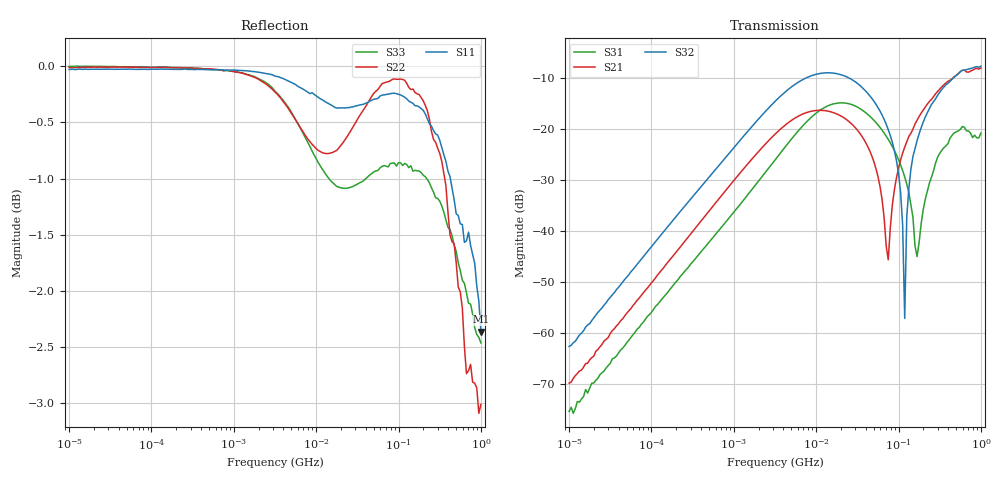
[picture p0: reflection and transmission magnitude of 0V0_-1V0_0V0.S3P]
!Keysight Technologies,E5080A,MY55100144,A.11.70.03
!Date: Monday, November 13, 2017 17:23:03
!Correction: S11(Full 3 Port(1,2,3))
!S12(Full 3 Port(1,2,3))
!S13(Full 3 Port(1,2,3))
!S21(Full 3 Port(1,2,3))
!S22(Full 3 Port(1,2,3))
!S23(Full 3 Port(1,2,3))
!S31(Full 3 Port(1,2,3))
!S32(Full 3 Port(1,2,3))
!S33(Full 3 Port(1,2,3))
!S3P File: Measurements: <S11,S12,S13>,
!<S21,S22,S23>,
!<S31,S32,S33>:Log Frequency Sweep
# Hz S  RI  R 50
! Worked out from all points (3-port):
!   201 points, 10 kHz to 1 GHz, reference 50 ohm
!   strongest paths, dB at 10 kHz, 177.8 kHz, 3.162 MHz, 56.23 MHz, 1 GHz:
!     S32: -62.6, -38.1, -14.6, -15.8, -7.7
!     S21: -69.8, -45.1, -21.0, -29.3, -8.0
!     S31: -75.3, -50.9, -26.1, -19.2, -20.8
!   lowest |S11| = -2.4 dB at 1 GHz (marker M1), VSWR 7.39, Z = 369 + j11.4 ohm
!   |S11| at or under -10 dB: nowhere
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10000  0.9968 -0.00146  -1.77e-06 0.000294  4.7e-07 0.000161
       2.63e-06 0.000324  0.999 -0.00355  -1.37e-05 0.000722
       1.5e-05 0.00017  1.51e-05 0.000743  0.9999 -0.00237
3162278  0.8786 -0.4563  0.0506 0.0735  0.0114 0.0486
         0.0506 0.0735  0.6528 -0.7228  0.1002 0.1575
         0.0113 0.0484  0.1004 0.1577  0.9348 -0.2761
5.623413e7  -0.9227 -0.2911  0.0155 -0.0306  0.057 -0.094
            0.0155 -0.0306  -0.9753 -0.0499  0.0634 -0.1501
            0.0569 -0.0941  0.0633 -0.1501  -0.6571 -0.613
7.498942e7  -0.9639 -0.1244  0.00455 0.00268  0.0243 -0.0755
            0.00453 0.00265  -0.9782 0.1105  0.0186 -0.0974
            0.0243 -0.0756  0.0186 -0.0973  -0.7953 -0.4254
1e8  -0.971 0.0371  0.00791 0.0409  0.00539 -0.05
     0.00793 0.0409  -0.9464 0.2795  -0.0003 -0.0368
     0.00531 -0.05  -0.000265 -0.0368  -0.8775 -0.2247
1.188502e8  -0.959 0.1373  0.0186 0.0639  0.00074 -0.0341
            0.0186 0.0639  -0.906 0.3885  0.000709 0.00119
            0.000741 -0.034  0.000711 0.0012  -0.8995 -0.1016
1.258925e8  -0.9518 0.1718  0.0236 0.0716  -0.000102 -0.0289
            0.0237 0.0715  -0.8858 0.4254  0.00355 0.0134
            -3.27e-05 -0.0289  0.00355 0.0134  -0.9022 -0.0591
1.678804e8  -0.8961 0.345  0.0599 0.1064  0.00486 -0.00295
            0.0599 0.1065  -0.7615 0.6046  0.0345 0.0692
            0.00484 -0.0029  0.0345 0.0691  -0.8865 0.1453
5.308844e8  0.00756 0.858  0.3254 -0.1277  0.0707 -0.065
            0.3253 -0.1279  0.5023 0.6193  0.3341 -0.1005
            0.0708 -0.065  0.3338 -0.1004  -0.1356 0.8063
1e9  0.7617 0.00647  -0.0936 -0.3857  -0.0568 -0.0722
     -0.094 -0.3857  0.5909 -0.3881  -0.0449 -0.4115
     -0.0563 -0.072  -0.0446 -0.4116  0.6862 0.31
